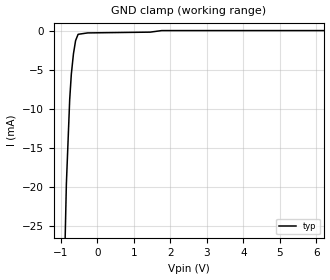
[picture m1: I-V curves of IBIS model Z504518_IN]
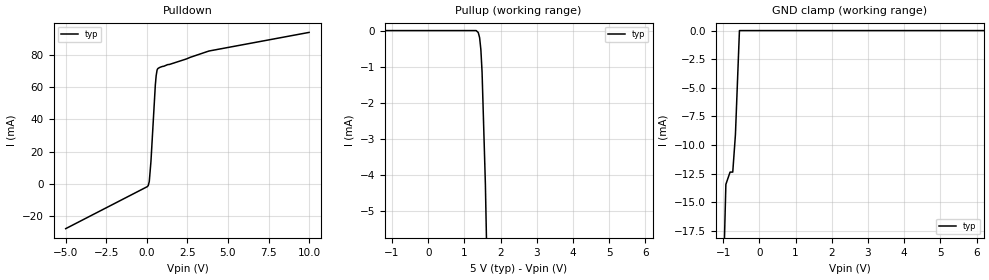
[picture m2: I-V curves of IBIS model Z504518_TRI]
| YOU ARE ONLY AUTHORIZED TO USE THIS SOFTWARE
| ACCORDING TO LICENSOR'S LICENSE RESTRICTIONS.
[IBIS Ver] 3.1
[File Name] sn74ls126an.ibs
[File Rev] 2.0
[Source] Measured and created by ICX Technology
[Date] Friday 7/14/00 9:08:16 AM
[Copyright]
| (C) COPYRIGHT 1993-2000
| MENTOR GRAPHICS CORPORATION
| ICX STANDARD LIBRARY, ICX PROJECT MODELING,
| ICX CUSTOM MODELING, ICX VENDOR MODEL
| ALL RIGHTS RESERVED.
| THE FOLLOWING ARE TRADEMARKS OR SERVICE MARKS OF
| MENTOR GRAPHICS CORPORATION:ICX (R), ICX STANDARD
| LIBRARY(R), ICX PROJECT MODELING(R), ICX CUSTOM
| MODELING(R), qualityIBIS(TM), MODELVIEWER(TM),
| AND MODELEDITOR(TM)
| ALL COPIES OF SOFTWARE, INCLUDING BUT NOT LIMITED TO
| ANY MODIFICATIONS, ENHANCEMENTS OR DERIVATIVE WORKS,
| MUST CONTAIN ALL MENTOR GRAPHICS CORPORATION'S
| NOTICES AND LEGENDS, INCLUDING THOSE EMBEDDED IN
| SOFTWARE AND THOSE AFFIXED TO SOFTWARE MEDIUM
| AND CONTAINER, AS RECEIVED FROM MENTOR GRAPHICS
| CORPORATION.
|  ZAP Model Builder 2.7
[Component] SN74LS126AN
[Manufacturer] OnSemiconductor
[Package]
| variable   typ   min   max
R_pkg  .21ohms NA NA
L_pkg  4.543nH NA NA
C_pkg  1.059pF NA NA
[Pin] signal_name  model_name  R_pin  L_pin C_pin
1 G Z504518_IN .22 6.757n 1.432p
2 A Z504518_IN .212 4.757n 1.142p
3 Y Z504518_TRI .204 3.257n .852p
4 G Z504518_IN .196 2.257n .562p
5 A Z504518_IN .204 3.257n .852p
6 Y Z504518_TRI .212 4.757n 1.142p
7 GND GND .22 6.757n 1.432p
8 Y Z504518_TRI .22 6.757n 1.432p
9 A Z504518_IN .212 4.757n 1.142p
10 G Z504518_IN .204 3.257n .852p
11 Y Z504518_TRI .196 2.257n .562p
12 A Z504518_IN .204 3.257n .852p
13 G Z504518_IN .212 4.757n 1.142p
14 VCC POWER .22 6.757n 1.432p
| Models and submodels in the file (2): Z504518_IN (Input), Z504518_TRI (3-state)
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| (C) COPYRIGHT 1993-2000
| MENTOR GRAPHICS CORPORATION
| ICX STANDARD LIBRARY, ICX PROJECT MODELING,
| ICX CUSTOM MODELING, ICX VENDOR MODEL
| ALL RIGHTS RESERVED.
| THE FOLLOWING ARE TRADEMARKS OR SERVICE MARKS OF
| MENTOR GRAPHICS CORPORATION:ICX (R), ICX STANDARD
| LIBRARY(R), ICX PROJECT MODELING(R), ICX CUSTOM
| MODELING(R), qualityIBIS(TM), MODELVIEWER(TM),
| AND MODELEDITOR(TM)
| ALL COPIES OF SOFTWARE, INCLUDING BUT NOT LIMITED TO
| ANY MODIFICATIONS, ENHANCEMENTS OR DERIVATIVE WORKS,
| MUST CONTAIN ALL MENTOR GRAPHICS CORPORATION'S
| NOTICES AND LEGENDS, INCLUDING THOSE EMBEDDED IN
| SOFTWARE AND THOSE AFFIXED TO SOFTWARE MEDIUM
| AND CONTAINER, AS RECEIVED FROM MENTOR GRAPHICS
| CORPORATION.
| Model Application Version 1.89 2/18/99.
[Model] Z504518_IN
Model_type Input
Vinl = 800.0mV
Vinh = 2.000V
C_comp 4.000pF NA NA
| variable typ   min   max
[Voltage Range] 5.000V NA NA
[GND Clamp Reference] 0.000V NA NA
[POWER Clamp Reference] 5.000V NA NA
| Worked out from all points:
|   GND clamp passes 1 mA (typ) near -0.57 V on its own axis
[GND Clamp]
-5V       -890.5mA   NA         NA
-848.5mV  -19.72mA   NA         NA
-757.1mV  -8.832mA   NA         NA
-712.9mV  -5.613mA   NA         NA
-654.8mV  -2.998mA   NA         NA
-595.7mV  -1.287mA   NA         NA
-527.2mV  -483.7uA   NA         NA
-263.6mV  -303.1uA   NA         NA
1.447V    -204.9uA   NA         NA
1.763V    -4.663uA   NA         NA
10V       -4.663uA   NA         NA
[POWER Clamp]
-5V       0A         NA         NA
10V       0A         NA         NA
| (C) COPYRIGHT 1993-2000
| MENTOR GRAPHICS CORPORATION
| ICX STANDARD LIBRARY, ICX PROJECT MODELING,
| ICX CUSTOM MODELING, ICX VENDOR MODEL
| ALL RIGHTS RESERVED.
| THE FOLLOWING ARE TRADEMARKS OR SERVICE MARKS OF
| MENTOR GRAPHICS CORPORATION:ICX (R), ICX STANDARD
| LIBRARY(R), ICX PROJECT MODELING(R), ICX CUSTOM
| MODELING(R), qualityIBIS(TM), MODELVIEWER(TM),
| AND MODELEDITOR(TM)
| ALL COPIES OF SOFTWARE, INCLUDING BUT NOT LIMITED TO
| ANY MODIFICATIONS, ENHANCEMENTS OR DERIVATIVE WORKS,
| MUST CONTAIN ALL MENTOR GRAPHICS CORPORATION'S
| NOTICES AND LEGENDS, INCLUDING THOSE EMBEDDED IN
| SOFTWARE AND THOSE AFFIXED TO SOFTWARE MEDIUM
| AND CONTAINER, AS RECEIVED FROM MENTOR GRAPHICS
| CORPORATION.
| Model Application Version 1.89 2/18/99.
[Model] Z504518_TRI
Model_type 3-state
Vref=588.0mV
Rref=588.5ohms
Cref=45.00pF
Vmeas=1.300V
C_comp 8.000pF NA NA
| variable typ   min   max
[Voltage Range] 5.000V NA NA
[POWER Clamp Reference] 5.000V NA NA
[Pullup Reference] 5.000V NA NA
[Pulldown Reference] 0.000V NA NA
[GND Clamp Reference] 0.000V NA NA
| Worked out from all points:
|   slope of the pulldown table from 0 to 0.75 V, typ, clamps not added: 10.2 ohm
|   GND clamp passes 1 mA (typ) near -0.57 V on its own axis
[GND Clamp]
-5V       -852.4mA   NA         NA
-1.151V   -44.66mA   NA         NA
-1.03V    -25.83mA   NA         NA
-927.7mV  -13.43mA   NA         NA
-811.7mV  -12.36mA   NA         NA
-737.6mV  -12.36mA   NA         NA
-663.5mV  -9.078mA   NA         NA
-552.9mV  0A         NA         NA
10V       0A         NA         NA
[Pulldown]
-5V       -27.64mA   NA         NA
29.75mV   -1.661mA   NA         NA
87.89mV   -958.2uA   NA         NA
151.1mV   1.507mA    NA         NA
253.9mV   13.87mA    NA         NA
523.2mV   60.98mA    NA         NA
576.1mV   66.94mA    NA         NA
629.9mV   70.29mA    NA         NA
693.1mV   71.43mA    NA         NA
3.828V    82.18mA    NA         NA
10V       93.69mA    NA         NA
[Pullup]
-5V       -54.94nA   NA         NA
1.326V    -54.94nA   NA         NA
1.384V    -54.61uA   NA         NA
1.421V    -195.3uA   NA         NA
1.456V    -527.2uA   NA         NA
1.489V    -1.146mA   NA         NA
1.581V    -4.266mA   NA         NA
10V       -433.1mA   NA         NA
[POWER Clamp]
-5V       0A         NA         NA
10V       0A         NA         NA
[Ramp]
| variable typ min max
dV/dt_r 1.958/4.848n NA NA
dV/dt_f 1.958/1.447n NA NA
R_load = 500.0Ohms
